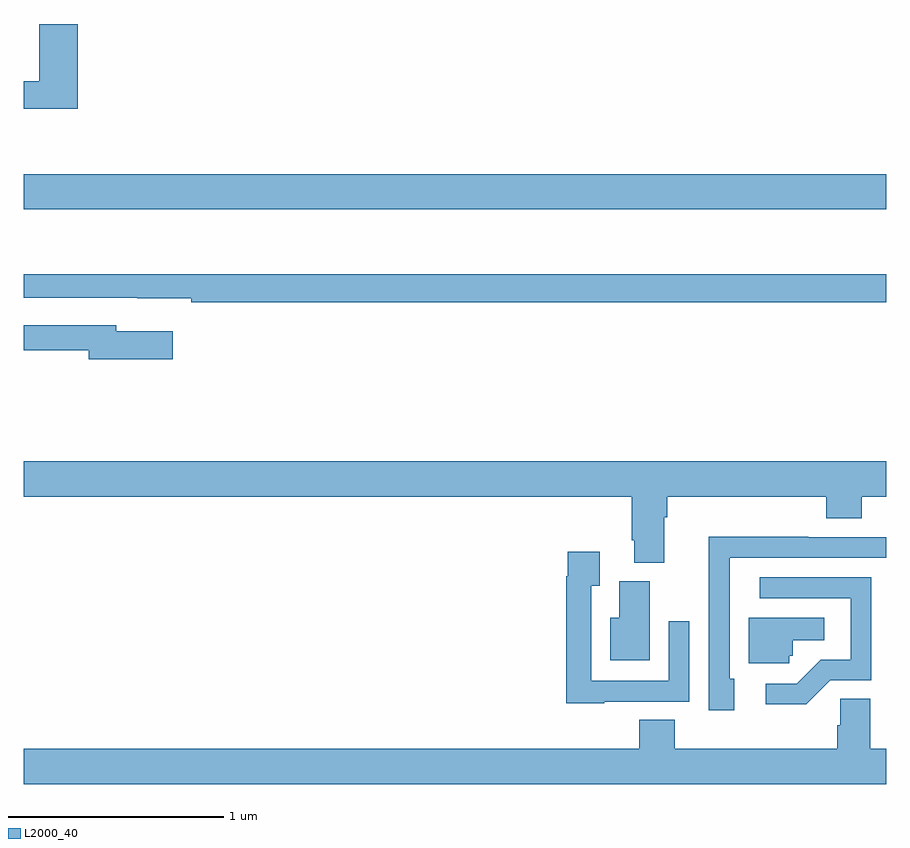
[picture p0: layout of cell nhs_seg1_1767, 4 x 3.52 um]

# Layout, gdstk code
import gdstk
lib = gdstk.Library(unit=1e-6, precision=1e-09)
def R(c, l, rs):  # rectangles x0, y0, x1, y1
    for r in rs: c.add(gdstk.rectangle(r[:2], r[2:], *l))
def P(c, l, *ps):  # polygons
    for p in ps: c.add(gdstk.Polygon(p, *l))
L2000_40 = (2000, 40)

nhs_seg1_1767 = lib.new_cell('nhs_seg1_1767')
R(nhs_seg1_1767, L2000_40, [(207,561.056,211,561.22)])
P(nhs_seg1_1767, L2000_40, [(207.251,561.916),(207.073,561.916),(207.073,561.65),(207,561.65),(207,561.522),(207.251,561.522)],
  [(211,560.755),(207,560.755),(207,560.646),(207.526,560.646),(207.526,560.645),(207.778,560.645),(207.778,560.626),(211,560.626)],
  [(207.691,560.491),(207.43,560.491),(207.43,560.52),(207,560.52),(207,560.404),(207.302,560.404),(207.302,560.362),(207.691,560.362)],
  [(209.971,559.628),(209.984,559.628),(209.984,559.724),(210.722,559.724),(210.722,559.625),(210.887,559.625),(210.887,559.724),(211,559.724),(211,559.888),(207,559.888),(207,559.724),(209.819,559.724),(209.819,559.522),(209.831,559.522),(209.831,559.417),(209.971,559.417)],
  [(210.295,558.879),(210.273,558.879),(210.273,559.44),(211,559.44),(211,559.536),(210.638,559.536),(210.638,559.538),(210.176,559.538),(210.176,559.234),(210.177,559.234),(210.177,558.735),(210.295,558.735)],
  [(209.691,558.774),(210.087,558.774),(210.087,559.147),(209.991,559.147),(209.991,558.87),(209.631,558.87),(209.631,559.312),(209.671,559.312),(209.671,559.468),(209.523,559.468),(209.523,559.355),(209.515,559.355),(209.515,558.767),(209.691,558.767)],
  [(210.741,558.873),(210.93,558.873),(210.93,559.35),(210.414,559.35),(210.414,559.254),(210.834,559.254),(210.834,558.969),(210.696,558.969),(210.585,558.858),(210.441,558.858),(210.441,558.761),(210.628,558.761)],
  [(209.902,559.332),(209.762,559.332),(209.762,559.162),(209.72,559.162),(209.72,558.965),(209.902,558.965)],
  [(210.549,558.987),(210.567,558.987),(210.567,559.058),(210.712,559.058),(210.712,559.162),(210.362,559.162),(210.362,558.951),(210.549,558.951)],
  [(211,558.556),(210.925,558.556),(210.925,558.788),(210.786,558.788),(210.786,558.665),(210.773,558.665),(210.773,558.556),(210.02,558.556),(210.02,558.689),(209.855,558.689),(209.855,558.556),(207,558.556),(207,558.392),(211,558.392)])

lib.write_gds('nhs_seg1_1767.gds')
